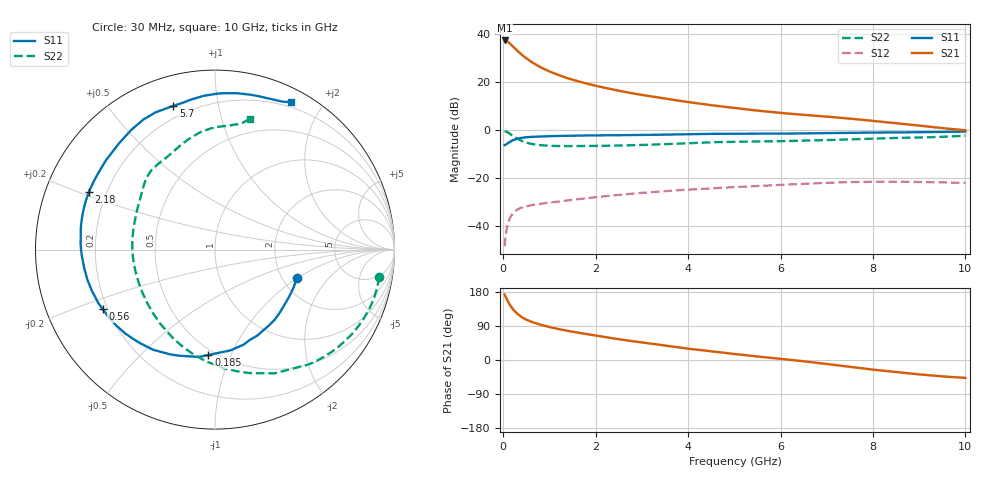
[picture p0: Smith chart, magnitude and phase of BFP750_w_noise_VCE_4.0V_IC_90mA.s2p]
! Infineon Technologies  Discrete & RF Semiconductors
! BFP750
! VCE =  4.0 V,  IC =  90 mA
! Common Emitter S-Parameters:  Jan 2016
# GHz  S  MA  R  50
!  f  S11  S21  S12  S22
! GHz  MAG  ANG  MAG  ANG  MAG  ANG  MAG  ANG
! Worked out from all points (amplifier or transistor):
!   229 points, 30 MHz to 10 GHz, reference 50 ohm
!   highest |S21| = 37.4 dB at 30 MHz (marker M1)
!   |S21| within 3 dB of that: start of sweep to 237 MHz
!   unconditionally stable (mu >= 1): 3.375 GHz to end of sweep
!   at 280 MHz: K = 0.22, MSG = 33.6 dB, |S12| = -33.6 dB
!   at 1.78 GHz: K = 0.78, MSG = 24.1 dB, |S12| = -28.6 dB
!   at 10 GHz: K = 1.04, MAG = 9.8 dB, |S12| = -22.2 dB
!   lowest NFmin = 1.47 dB at 450 MHz
!   S11 on the Smith chart (normalised r, x): 30 MHz: 2.37, -1.00; 185 MHz: 0.46, -0.83; 560 MHz: 0.18, -0.24; 2.18 GHz: 0.13, +0.22; 5.7 GHz: 0.14, +0.74; 10 GHz: 0.14, +1.63
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0.03  0.4822 -19.5  74.31 172.5  0.0037 73.6  0.928 -9.5
0.07  0.5036 -44.2  72.33 161.8  0.0079 70.2  0.9142 -24.5
0.1  0.5256 -59.8  69.38 154.9  0.0108 65.0  0.8859 -34.9
0.15  0.568 -81.4  63.44 144.4  0.0147 57.8  0.8268 -50.6
0.185  0.5883 -93.6  58.77 138.4  0.0168 52.9  0.7791 -59.9
0.2  0.6047 -98.5  56.98 135.5  0.0177 51.2  0.7654 -64.2
0.26  0.6353 -113.4  50.07 127.4  0.0201 45.5  0.6988 -77.8
0.3  0.6562 -121.8  45.88 122.4  0.0215 42.4  0.6623 -86.1
0.36  0.673 -131.4  40.53 116.7  0.023 38.8  0.6157 -96.5
0.45  0.6942 -142.6  34.18 109.5  0.0246 35.3  0.5655 -109.6
0.56  0.7083 -152.2  28.58 103.4  0.026 32.6  0.524 -122.0
0.7  0.7234 -161.6  23.34 96.8  0.0275 30.6  0.4939 -134.8
1  0.7396 -175.1  16.68 86.8  0.0301 29.3  0.4662 -153.3
1.3  0.751 175.5  12.94 79.2  0.0327 29.1  0.4589 -165.8
1.7  0.7632 165.6  9.908 70.4  0.0363 28.8  0.4598 -177.9
2.18  0.7724 155.3  7.655 60.7  0.0407 27.8  0.4649 170.7
3.4  0.7938 133.9  4.674 39.8  0.0517 22.5  0.499 147.8
5.1  0.8326 112.4  2.804 14.6  0.0643 12.3  0.5673 127.9
5.7  0.8334 106.2  2.422 6.8  0.0685 8.3  0.5756 120.8
6.8  0.8533 96.1  1.963 -7.5  0.0769 0.0  0.6057 109.8
8.4  0.885 77.3  1.413 -30.6  0.0826 -15.6  0.6759 91.9
10  0.9242 62.7  0.984 -47.1  0.0779 -27.6  0.7563 74.9
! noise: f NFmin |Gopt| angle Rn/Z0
0.45  1.47  0.31  -169  0.33
0.9  1.48  0.4  -164  0.16
1.5  1.49  0.49  -154  0.09
1.9  1.49  0.5  -149  0.1
2.4  1.5  0.5  -142  0.12
3.5  1.74  0.51  -125  0.17
